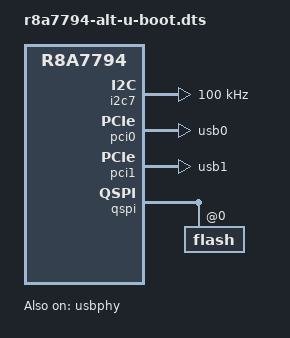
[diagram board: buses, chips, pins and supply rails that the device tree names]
// SPDX-License-Identifier: GPL-2.0
/*
 * Device Tree Source extras for U-Boot for the Alt board
 *
 * Copyright (C) 2018 Marek Vasut <marek.vasut@gmail.com>
 */

#include "r8a7794-alt.dts"
#include "r8a7794-u-boot.dtsi"

&i2c7 {
	status = "okay";
	clock-frequency = <100000>;
};

&pci0 {
	status = "okay";
	pinctrl-0 = <&usb0_pins>;
	pinctrl-names = "default";
};

&pci1 {
	status = "okay";
	pinctrl-0 = <&usb1_pins>;
	pinctrl-names = "default";
};

&pfc {
	usb0_pins: usb0 {
		groups = "usb0";
		function = "usb0";
	};

	usb1_pins: usb1 {
		groups = "usb1";
		function = "usb1";
	};
};

&scif2 {
	u-boot,dm-pre-reloc;
};

&qspi {
	flash@0 {
		spi-tx-bus-width = <1>;
		spi-rx-bus-width = <1>;
	};
};

&usbphy {
	status = "okay";
};
